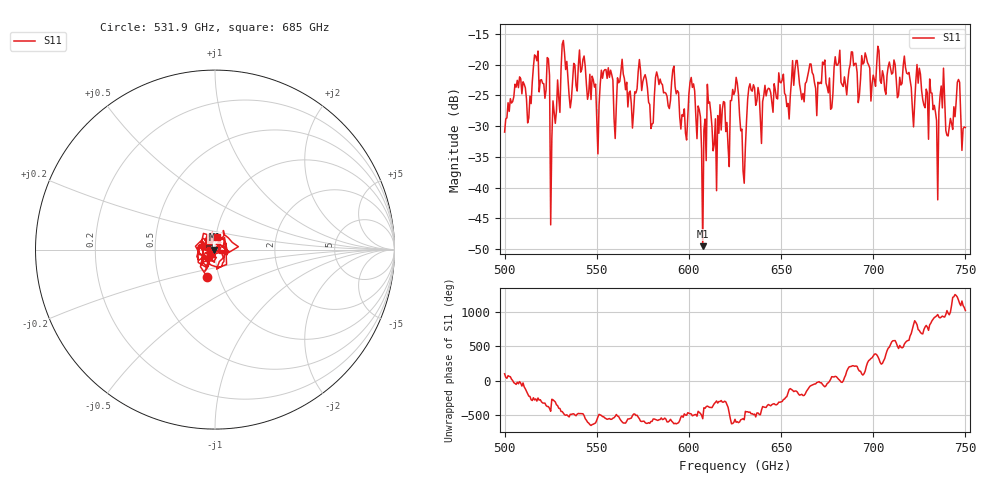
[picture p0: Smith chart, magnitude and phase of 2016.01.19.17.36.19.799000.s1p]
!Created with skrf (http://scikit-rf.org).
# GHz S RI R 50.0
!freq ReS11 ImS11
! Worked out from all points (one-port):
!   401 points, 500 GHz to 750 GHz, reference 50 ohm
!   lowest |S11| = -49.5 dB at 607.5 GHz (marker M1), VSWR 1.01, Z = 49.7 + j0.0505 ohm
!   |S11| at or under -10 dB: start of sweep to end of sweep
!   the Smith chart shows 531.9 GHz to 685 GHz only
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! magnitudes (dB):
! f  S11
! 500 GHz  -31.0
! 507.5 GHz  -23.7
! 513.1 GHz  -28.7
! 516.9 GHz  -18.6
! 523.1 GHz  -18.8
! 526.2 GHz  -25.9
! 531.2 GHz  -16.7
! 550 GHz  -29.1
! 562.5 GHz  -22.7
! 579.4 GHz  -30.4
! 583.1 GHz  -22.0
! 593.8 GHz  -24.2
! 598.1 GHz  -31.1
! 601.9 GHz  -23.7
! 607.5 GHz  -49.5
! 611.2 GHz  -26.1
! 613.8 GHz  -32.9
! 625 GHz  -24.3
! 629.4 GHz  -37.3
! 633.8 GHz  -24.1
! 656.2 GHz  -19.3
! 687.5 GHz  -20.0
! 718.8 GHz  -21.5
! 733.8 GHz  -27.7
! 737.5 GHz  -27.0
! 740.6 GHz  -31.6
! 746.2 GHz  -22.4
! 750 GHz  -30.2
